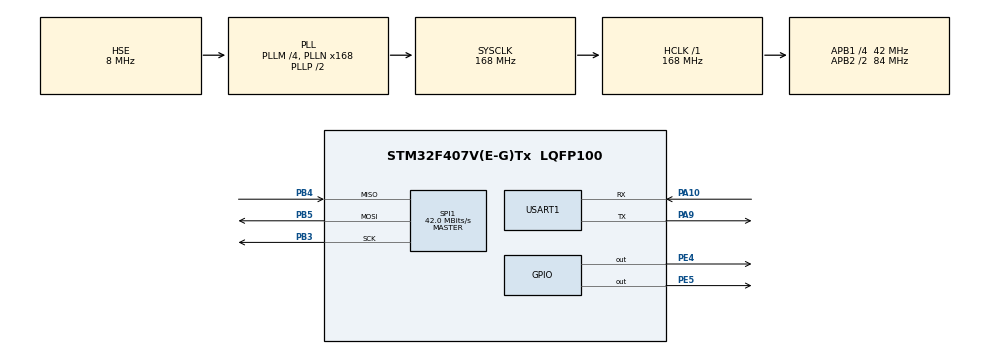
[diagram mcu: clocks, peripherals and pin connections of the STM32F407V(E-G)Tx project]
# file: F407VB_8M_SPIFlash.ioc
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Mcu.Family=STM32F4
Mcu.Name=STM32F407V(E-G)Tx
Mcu.Package=LQFP100
NVIC.PriorityGroup=NVIC_PRIORITYGROUP_4
NVIC.USART1_IRQn=true\:0\:0\:false\:false\:true\:true\:true
PA10.Mode=Asynchronous
PA10.Signal=USART1_RX
PA13.Mode=Serial_Wire
PA13.Signal=SYS_JTMS-SWDIO
PA14.Mode=Serial_Wire
PA14.Signal=SYS_JTCK-SWCLK
PA9.Mode=Asynchronous
PA9.Signal=USART1_TX
PB3.Mode=Full_Duplex_Master
PB3.Signal=SPI1_SCK
PB4.Mode=Full_Duplex_Master
PB4.Signal=SPI1_MISO
PB5.Mode=Full_Duplex_Master
PB5.Signal=SPI1_MOSI
PC14-OSC32_IN.Mode=LSE-External-Oscillator
PC14-OSC32_IN.Signal=RCC_OSC32_IN
PC15-OSC32_OUT.Mode=LSE-External-Oscillator
PC15-OSC32_OUT.Signal=RCC_OSC32_OUT
PE4.GPIO_ModeDefaultOutputPP=GPIO_MODE_OUTPUT_PP
PE4.GPIO_PuPd=GPIO_PULLUP
PE4.GPIO_Speed=GPIO_SPEED_FREQ_VERY_HIGH
PE4.PinState=GPIO_PIN_SET
PE4.Signal=GPIO_Output
PE5.GPIO_ModeDefaultOutputPP=GPIO_MODE_OUTPUT_PP
PE5.GPIO_PuPd=GPIO_PULLUP
PE5.GPIO_Speed=GPIO_SPEED_FREQ_VERY_HIGH
PE5.PinState=GPIO_PIN_SET
PE5.Signal=GPIO_Output
PH0-OSC_IN.Mode=HSE-External-Oscillator
PH0-OSC_IN.Signal=RCC_OSC_IN
PH1-OSC_OUT.Mode=HSE-External-Oscillator
PH1-OSC_OUT.Signal=RCC_OSC_OUT
ProjectManager.HeapSize=0x200
ProjectManager.StackSize=0x400
ProjectManager.TargetToolchain=MDK-ARM V5.27
RCC.48MHZClocksFreq_Value=84000000
RCC.AHBFreq_Value=168000000
RCC.APB1CLKDivider=RCC_HCLK_DIV4
RCC.APB1Freq_Value=42000000
RCC.APB1TimFreq_Value=84000000
RCC.APB2CLKDivider=RCC_HCLK_DIV2
RCC.APB2Freq_Value=84000000
RCC.APB2TimFreq_Value=168000000
RCC.CortexFreq_Value=168000000
RCC.HCLKFreq_Value=168000000
RCC.HSE_VALUE=8000000
RCC.HSI_VALUE=16000000
RCC.PLLM=4
RCC.PLLN=168
RCC.PLLSourceVirtual=RCC_PLLSOURCE_HSE
RCC.SYSCLKFreq_VALUE=168000000
RCC.SYSCLKSource=RCC_SYSCLKSOURCE_PLLCLK
RCC.VCOOutputFreq_Value=336000000
SPI1.BaudRatePrescaler=SPI_BAUDRATEPRESCALER_2
SPI1.CalculateBaudRate=42.0 MBits/s
SPI1.Direction=SPI_DIRECTION_2LINES
SPI1.Mode=SPI_MODE_MASTER
SPI1.VirtualType=VM_MASTER
USART1.VirtualMode=VM_ASYNC
board=custom

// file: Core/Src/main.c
/* USER CODE BEGIN Header */
/**
  ******************************************************************************
  * @file           : main.c
  * @brief          : Main program body
  ******************************************************************************
  * @attention
  *
  * <h2><center>&copy; Copyright (c) 2021 STMicroelectronics.
  * All rights reserved.</center></h2>
  *
  * This software component is licensed by ST under BSD 3-Clause license,
  * the "License"; You may not use this file except in compliance with the
  * License. You may obtain a copy of the License at:
  *                        opensource.org/licenses/BSD-3-Clause
  *
  ******************************************************************************
  */
/* USER CODE END Header */
#include "main.h"
#include "spi.h"
#include "usart.h"
#include "gpio.h"

/* USER CODE BEGIN Includes */
#include <stdio.h>
#include "DELAY/delay.h"
#include "SPIFlash/spiflash.h"
#include "USART/myusart1.h"
#include "SPIFlash/testbench.h"
/* USER CODE END Includes */

/* USER CODE BEGIN PD */
#define ARRAYLEN 5050
/* USER CODE END PD */

/* USER CODE BEGIN PV */
uint8_t txBuf[ARRAYLEN];
uint8_t rxBuf[ARRAYLEN];
/* USER CODE END PV */

void SystemClock_Config(void);

/* USER CODE BEGIN 0 */
void sep()
{
  MyUSART1_WriteLine("\r\n--------------");
}
/* USER CODE END 0 */

int main(void)
{
  /* USER CODE BEGIN 1 */
  uint32_t i;
  uint8_t cmdByte;
  /* USER CODE END 1 */

  /* MCU Configuration--------------------------------------------------------*/

  /* Reset of all peripherals, Initializes the Flash interface and the Systick. */
  HAL_Init();

  /* Configure the system clock */
  SystemClock_Config();

  /* Initialize all configured peripherals */
  MX_GPIO_Init();
  MX_USART1_UART_Init();
  MX_SPI1_Init();
  /* USER CODE BEGIN 2 */
  Delay_Init(168);
  SPIFlash_Init(&hspi1);
  MyUSART1_Init();

  MyUSART1_WriteLine("SPIFlash Test");
  MyUSART1_WriteLine("0x01 Generate 0~ArrayLen");
  MyUSART1_WriteLine("0x02 Generate 0XFF~(0XFF-ArrayLen)");
  MyUSART1_WriteLine("0x03 Dump txBuf");
  MyUSART1_WriteLine("0x04 Dump ARRAYLEN of SPIFlash");
  MyUSART1_WriteLine("0x05 Write");
  MyUSART1_WriteLine("0x06 Erase");
  sep();

  Delay_ms(3000);
  SPIFlash_FunctionTest();

  /* USER CODE END 2 */

  /* Infinite loop */
  while (1)
  {

    /* USER CODE BEGIN 3 */
    if (MyUSART1_Read(&cmdByte, 1))
    {
      if (cmdByte == 0x01) // Generate 0~ARRAYLEN
        for (i = 0; i < ARRAYLEN; i++)
          txBuf[i] = i;
      else if (cmdByte == 0x02) // Generate 0XFF~(0XFF-ARRAYLEN)
        for (i = 0; i < ARRAYLEN; i++)
          txBuf[i] = 0xFF - i;
      else if(cmdByte == 0x03) // Dump txBuf
      {
        for (i = 0; i < ARRAYLEN; i++)
          printf("%02x ",txBuf[i]);
        sep();
      }
      else if (cmdByte == 0x04) // Dump ARRAYLEN of SPIFlash
      {
        SPIFlash_Read(4080, rxBuf, ARRAYLEN);
        for (i = 0; i < ARRAYLEN; i++)
          printf("%02x ",rxBuf[i]);
        sep();
      }
      else if (cmdByte == 0x05) // Write
        SPIFlash_Write(4080, txBuf, ARRAYLEN);
      else if (cmdByte == 0x06) // Erase
        SPIFlash_Erase(SPIFLASH_ERASE4K, 4080);
    }
  }
  /* USER CODE END 3 */
}

void SystemClock_Config(void)
{
  RCC_OscInitTypeDef RCC_OscInitStruct = {0};
  RCC_ClkInitTypeDef RCC_ClkInitStruct = {0};

  /** Configure the main internal regulator output voltage
  */
  __HAL_RCC_PWR_CLK_ENABLE();
  __HAL_PWR_VOLTAGESCALING_CONFIG(PWR_REGULATOR_VOLTAGE_SCALE1);
  /** Initializes the RCC Oscillators according to the specified parameters
  * in the RCC_OscInitTypeDef structure.
  */
  RCC_OscInitStruct.OscillatorType = RCC_OSCILLATORTYPE_HSE;
  RCC_OscInitStruct.HSEState = RCC_HSE_ON;
  RCC_OscInitStruct.PLL.PLLState = RCC_PLL_ON;
  RCC_OscInitStruct.PLL.PLLSource = RCC_PLLSOURCE_HSE;
  RCC_OscInitStruct.PLL.PLLM = 4;
  RCC_OscInitStruct.PLL.PLLN = 168;
  RCC_OscInitStruct.PLL.PLLP = RCC_PLLP_DIV2;
  RCC_OscInitStruct.PLL.PLLQ = 4;
  if (HAL_RCC_OscConfig(&RCC_OscInitStruct) != HAL_OK)
  {
    Error_Handler();
  }
  /** Initializes the CPU, AHB and APB buses clocks
  */
  RCC_ClkInitStruct.ClockType = RCC_CLOCKTYPE_HCLK|RCC_CLOCKTYPE_SYSCLK
                              |RCC_CLOCKTYPE_PCLK1|RCC_CLOCKTYPE_PCLK2;
  RCC_ClkInitStruct.SYSCLKSource = RCC_SYSCLKSOURCE_PLLCLK;
  RCC_ClkInitStruct.AHBCLKDivider = RCC_SYSCLK_DIV1;
  RCC_ClkInitStruct.APB1CLKDivider = RCC_HCLK_DIV4;
  RCC_ClkInitStruct.APB2CLKDivider = RCC_HCLK_DIV2;

  if (HAL_RCC_ClockConfig(&RCC_ClkInitStruct, FLASH_LATENCY_5) != HAL_OK)
  {
    Error_Handler();
  }
}

void Error_Handler(void)
{
  __disable_irq();
  while (1)
  {
  }
}

/************************ (C) COPYRIGHT STMicroelectronics *****END OF FILE****/
